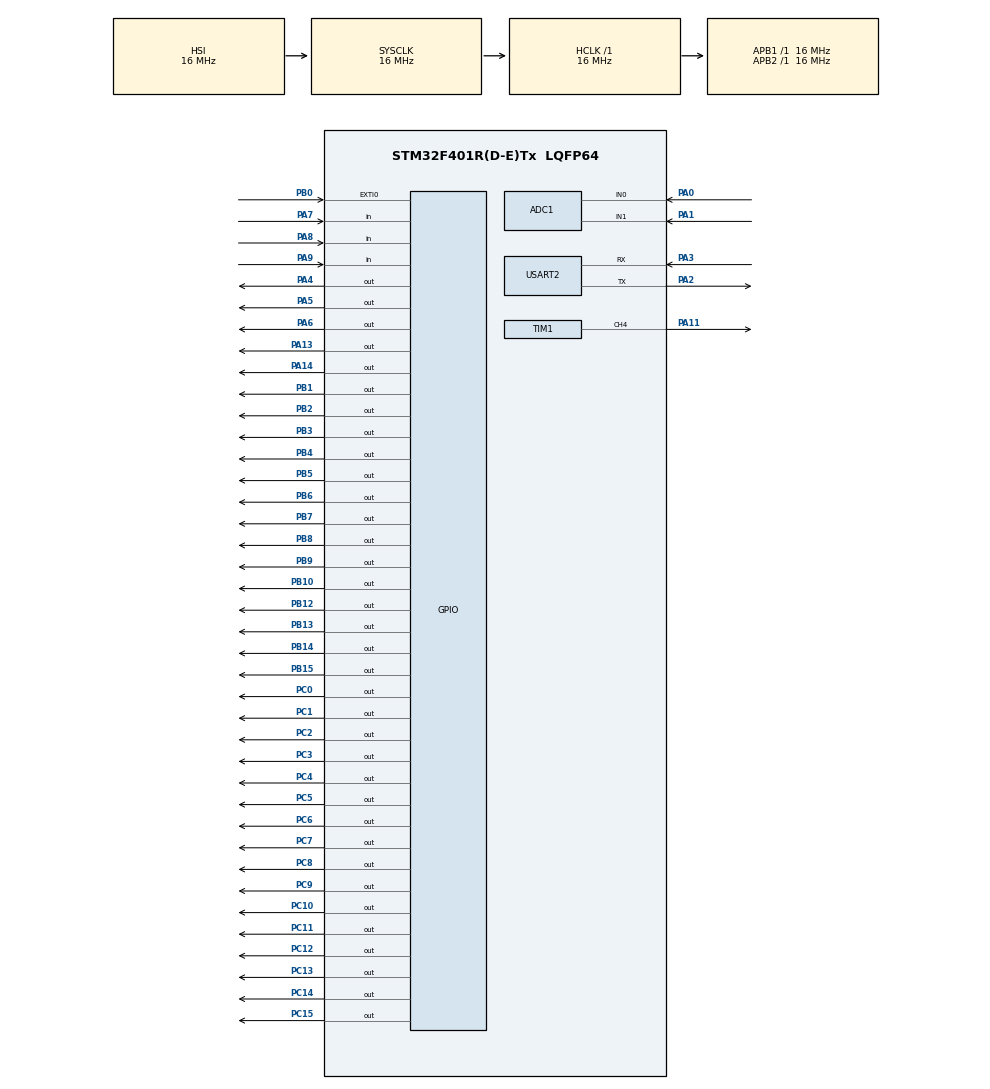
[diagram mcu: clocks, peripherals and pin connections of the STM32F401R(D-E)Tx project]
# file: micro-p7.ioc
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ADC1.Channel-14\#ChannelRegularConversion=ADC_CHANNEL_0
ADC1.Channel-15\#ChannelRegularConversion=ADC_CHANNEL_1
ADC1.ContinuousConvMode=ENABLE
ADC1.NbrOfConversion=2
ADC1.NbrOfConversionFlag=1
ADC1.Rank-14\#ChannelRegularConversion=1
ADC1.Rank-15\#ChannelRegularConversion=2
ADC1.SamplingTime-14\#ChannelRegularConversion=ADC_SAMPLETIME_3CYCLES
ADC1.SamplingTime-15\#ChannelRegularConversion=ADC_SAMPLETIME_3CYCLES
ADC1.ScanConvMode=ENABLE
ADC1.master=1
Mcu.Family=STM32F4
Mcu.Name=STM32F401R(D-E)Tx
Mcu.Package=LQFP64
NVIC.EXTI0_IRQn=true\:0\:0\:true\:false\:true\:true\:true
NVIC.PriorityGroup=NVIC_PRIORITYGROUP_4
NVIC.RCC_IRQn=true\:0\:0\:false\:false\:true\:true\:false
NVIC.TIM3_IRQn=true\:0\:0\:false\:false\:true\:true\:true
PA0-WKUP.Signal=ADCx_IN0
PA1.Signal=ADCx_IN1
PA11.GPIO_PuPd=GPIO_NOPULL
PA11.Signal=S_TIM1_CH4
PA13.GPIO_PuPd=GPIO_NOPULL
PA13.Signal=GPIO_Output
PA14.GPIO_PuPd=GPIO_NOPULL
PA14.Signal=GPIO_Output
PA2.Mode=Asynchronous
PA2.Signal=USART2_TX
PA3.Mode=Asynchronous
PA3.Signal=USART2_RX
PA4.GPIO_PuPd=GPIO_NOPULL
PA4.Signal=GPIO_Output
PA5.GPIO_PuPd=GPIO_NOPULL
PA5.Signal=GPIO_Output
PA6.GPIO_PuPd=GPIO_NOPULL
PA6.Signal=GPIO_Output
PA7.GPIO_PuPd=GPIO_PULLDOWN
PA7.Signal=GPIO_Input
PA8.GPIO_PuPd=GPIO_PULLDOWN
PA8.Signal=GPIO_Input
PA9.GPIO_PuPd=GPIO_PULLDOWN
PA9.Signal=GPIO_Input
PB0.GPIO_PuPd=GPIO_PULLDOWN
PB0.Signal=GPXTI0
PB1.GPIO_PuPd=GPIO_NOPULL
PB1.Signal=GPIO_Output
PB10.GPIO_PuPd=GPIO_NOPULL
PB10.Signal=GPIO_Output
PB12.GPIO_PuPd=GPIO_NOPULL
PB12.Signal=GPIO_Output
PB13.GPIO_PuPd=GPIO_NOPULL
PB13.Signal=GPIO_Output
PB14.GPIO_PuPd=GPIO_NOPULL
PB14.Signal=GPIO_Output
PB15.GPIO_PuPd=GPIO_NOPULL
PB15.Signal=GPIO_Output
PB2.GPIO_PuPd=GPIO_NOPULL
PB2.Signal=GPIO_Output
PB3.GPIO_PuPd=GPIO_NOPULL
PB3.Signal=GPIO_Output
PB4.GPIO_PuPd=GPIO_NOPULL
PB4.Signal=GPIO_Output
PB5.GPIO_PuPd=GPIO_NOPULL
PB5.Signal=GPIO_Output
PB6.GPIO_PuPd=GPIO_NOPULL
PB6.Signal=GPIO_Output
PB7.GPIO_PuPd=GPIO_NOPULL
PB7.Signal=GPIO_Output
PB8.GPIO_PuPd=GPIO_NOPULL
PB8.Signal=GPIO_Output
PB9.GPIO_PuPd=GPIO_NOPULL
PB9.Signal=GPIO_Output
PC0.GPIO_PuPd=GPIO_NOPULL
PC0.Signal=GPIO_Output
PC1.GPIO_PuPd=GPIO_NOPULL
PC1.Signal=GPIO_Output
PC10.GPIO_PuPd=GPIO_NOPULL
PC10.Signal=GPIO_Output
PC11.GPIO_PuPd=GPIO_NOPULL
PC11.Signal=GPIO_Output
PC12.GPIO_PuPd=GPIO_NOPULL
PC12.Signal=GPIO_Output
PC13-ANTI_TAMP.GPIO_PuPd=GPIO_NOPULL
PC13-ANTI_TAMP.Signal=GPIO_Output
PC14-OSC32_IN.GPIO_PuPd=GPIO_NOPULL
PC14-OSC32_IN.Signal=GPIO_Output
PC15-OSC32_OUT.GPIO_PuPd=GPIO_NOPULL
PC15-OSC32_OUT.Signal=GPIO_Output
PC2.GPIO_PuPd=GPIO_NOPULL
PC2.Signal=GPIO_Output
PC3.GPIO_PuPd=GPIO_NOPULL
PC3.Signal=GPIO_Output
PC4.GPIO_PuPd=GPIO_NOPULL
PC4.Signal=GPIO_Output
PC5.GPIO_PuPd=GPIO_NOPULL
PC5.Signal=GPIO_Output
PC6.GPIO_PuPd=GPIO_NOPULL
PC6.Signal=GPIO_Output
PC7.GPIO_PuPd=GPIO_NOPULL
PC7.Signal=GPIO_Output
PC8.GPIO_PuPd=GPIO_NOPULL
PC8.Signal=GPIO_Output
PC9.GPIO_PuPd=GPIO_NOPULL
PC9.Signal=GPIO_Output
ProjectManager.HeapSize=0x200
ProjectManager.StackSize=0x400
ProjectManager.TargetToolchain=MDK-ARM V5
RCC.AHBFreq_Value=16000000
RCC.APB1Freq_Value=16000000
RCC.APB1TimFreq_Value=16000000
RCC.APB2Freq_Value=16000000
RCC.APB2TimFreq_Value=16000000
RCC.CortexFreq_Value=16000000
RCC.HCLKFreq_Value=16000000
RCC.HSE_VALUE=25000000
RCC.HSI_VALUE=16000000
RCC.LSE_VALUE=32768
RCC.PLLP=RCC_PLLP_DIV4
RCC.SYSCLKFreq_VALUE=16000000
RCC.VCOOutputFreq_Value=192000000
SH.ADCx_IN0.0=ADC1_IN0,IN0
SH.ADCx_IN1.0=ADC1_IN1,IN1
SH.S_TIM1_CH4.0=TIM1_CH4,PWM Generation4 CH4
TIM1.Channel-PWM\ Generation4\ CH4=TIM_CHANNEL_4
TIM1.Period=120
TIM1.Prescaler=15999
TIM1.Pulse-PWM\ Generation4\ CH4=60
TIM3.Period=19
TIM3.Prescaler=15999
USART2.VirtualMode=VM_ASYNC
VP_TIM3_VS_ClockSourceINT.Mode=Internal
board=custom

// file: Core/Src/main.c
/* USER CODE BEGIN Header */
/**
  ******************************************************************************
  * @file           : main.c
  * @brief          : Main program body
  ******************************************************************************
  * @attention
  *
  * Copyright (c) 2022 STMicroelectronics.
  * All rights reserved.
  *
  * This software is licensed under terms that can be found in the LICENSE file
  * in the root directory of this software component.
  * If no LICENSE file comes with this software, it is provided AS-IS.
  *
  ******************************************************************************
*/
/* USER CODE END Header */
#include "main.h"

/* USER CODE BEGIN Includes */
#include <stdio.h>
#include <stdbool.h>
#include <string.h>
/* USER CODE END Includes */

/* USER CODE BEGIN PTD */
#define GREEN (4)
#define ORANGE (5)
#define RED (6)
#define B1 (7)
#define B2 (8)
#define B3 (9)
#define PWM_ORANGE (13)
#define PWM_RED (14)
#define SA (1)
#define SB (2)
#define SC (3)
#define SD (4)
#define SE (5)
#define SF (6)
#define SG (7)
#define SAA (8)
#define SBB (9)
#define SCC (10)
#define SDD (12)
#define SEE (13)
#define SFF (14)
#define SGG (15)
#define MASK(x)   (1UL << (x))
#define VREF (5)

/* USER CODE END PTD */

ADC_HandleTypeDef hadc1;

TIM_HandleTypeDef htim1;
TIM_HandleTypeDef htim3;

UART_HandleTypeDef huart2;

/* USER CODE BEGIN PV */
void logStr(char* string);
void logNum(uint32_t input);
void endLine();
/* USER CODE END PV */

void SystemClock_Config(void);
static void MX_GPIO_Init(void);
static void MX_ADC1_Init(void);
static void MX_TIM3_Init(void);
static void MX_USART2_UART_Init(void);
static void MX_TIM1_Init(void);

/* USER CODE BEGIN 0 */
enum SystemState { STARTUP, OK, CHECKING, WARNING, COOLING, DANGER, OFF };
volatile enum SystemState systemState = STARTUP;
volatile float avg = 0.0;
volatile float lastAvg = 0.0;
volatile uint8_t count = 0;

void logState(enum SystemState state){
	switch(state) {
		case OK:
			logStr("State -> OK");
			break;
		case CHECKING:
			logStr("State -> CHECKING");
			break;
		case WARNING:
			logStr("State -> WARNING");
			break;
		case COOLING:
			logStr("State -> COOLING");
			break;
		case DANGER:
			logStr("State -> DANGER");
			break;
		case OFF:
			logStr("State -> OFF");
			break;
		case STARTUP:
			logStr("State -> STARTUP");
			break;
			default:
			logStr("Unexpected Behaviour");
	}
	endLine();
}
uint16_t segment1(uint16_t value) {
	switch(value){
		case 0:
			return MASK(SA) | MASK(SB) | MASK(SC) | MASK(SD) | MASK(SE) | MASK(SF);
		case 1:
			return MASK(SB) | MASK(SC);
		case 2:
			return MASK(SA) | MASK(SB) | MASK(SD) | MASK(SE) | MASK(SG);
		case 3:
			return MASK(SA) | MASK(SB) | MASK(SC) | MASK(SD) | MASK(SG);
		case 4:
			return MASK(SB) | MASK(SC) | MASK(SF) | MASK(SG);
		case 5:
			return MASK(SA) | MASK(SC) | MASK(SD) | MASK(SF) | MASK(SG);
		case 6:
			return MASK(SA) | MASK(SC) | MASK(SD) | MASK(SE) | MASK(SF) | MASK(SG);
		case 8:
			return MASK(SA) | MASK(SB) | MASK(SC) | MASK(SD) | MASK(SE) | MASK(SF) | MASK(SG);
		case 7:
			return MASK(SA) | MASK(SB) | MASK(SC);
		case 9:
			return MASK(SA) | MASK(SB) | MASK(SC) | MASK(SD) | MASK(SF) | MASK(SG);
		default:
			return MASK(SA) | MASK(SB) | MASK(SC) | MASK(SD) | MASK(SE) | MASK(SF);
	}
}

uint16_t segment2(uint16_t value) {
	switch(value){
		case 0:
			return MASK(SAA) | MASK(SBB) | MASK(SCC) | MASK(SDD) | MASK(SEE) | MASK(SFF);
		case 1:
			return MASK(SBB) | MASK(SCC);
		case 2:
			return MASK(SAA) | MASK(SBB) | MASK(SDD) | MASK(SEE) | MASK(SGG);
		case 3:
			return MASK(SAA) | MASK(SBB) | MASK(SCC) | MASK(SDD) | MASK(SGG);
		case 4:
			return MASK(SBB) | MASK(SCC) | MASK(SFF) | MASK(SGG);
		case 5:
			return MASK(SAA) | MASK(SCC) | MASK(SDD) | MASK(SFF) | MASK(SGG);
		case 6:
			return MASK(SAA) | MASK(SCC) | MASK(SDD) | MASK(SEE) | MASK(SFF) | MASK(SGG);
		case 8:
			return MASK(SAA) | MASK(SBB) | MASK(SCC) | MASK(SDD) | MASK(SEE) | MASK(SFF) | MASK(SGG);
		case 7:
			return MASK(SAA) | MASK(SBB) | MASK(SCC);
		case 9:
			return MASK(SAA) | MASK(SBB) | MASK(SCC) | MASK(SDD) | MASK(SFF) | MASK(SGG);
		default:
			return MASK(SAA) | MASK(SBB) | MASK(SCC) | MASK(SDD) | MASK(SEE) | MASK(SFF);
	}
}

// Transform System  to given State
void ChangeState(enum SystemState state){
	HAL_GPIO_WritePin( GPIOA, MASK(ORANGE) | MASK(GREEN) | MASK(RED) | MASK(PWM_RED) | MASK(PWM_ORANGE), GPIO_PIN_RESET);
	HAL_TIM_PWM_Stop(&htim1, TIM_CHANNEL_4);
	systemState = state;
	switch( state ){
		case OK:
			HAL_GPIO_WritePin( GPIOA, MASK(GREEN), GPIO_PIN_SET);
			break;
		case WARNING:
			HAL_GPIO_WritePin( GPIOA, MASK(ORANGE), GPIO_PIN_SET);
			break;
		case CHECKING:
				HAL_TIM_PWM_Start(&htim1, TIM_CHANNEL_4);
				HAL_GPIO_WritePin( GPIOA, MASK(PWM_ORANGE), GPIO_PIN_SET);
			break;
		case DANGER:
				HAL_TIM_PWM_Start(&htim1, TIM_CHANNEL_4);
				HAL_GPIO_WritePin( GPIOA, MASK(PWM_RED), GPIO_PIN_SET);
			break;
		default:
			break;
	}
	logState(state);
}
// Show given Number on segments
void showOnSegments(uint16_t value){
		HAL_GPIO_WritePin(GPIOB, 0xFFFF , GPIO_PIN_RESET);
		uint16_t seg1 = segment1(value/10);
		uint16_t seg2 = segment2(value%10);
		HAL_GPIO_WritePin(GPIOB, (seg1) | (seg2) , GPIO_PIN_SET);
}

// Reverse Given Value
uint16_t reverse(uint16_t input){
	return ((4095 - input)  << 4);
}

/************************************************************************/
/* Configurations for selecting/reading adc channels */
void Select_ADC_OSC(){
	ADC_ChannelConfTypeDef sConfig = {0};
	sConfig.Channel = ADC_CHANNEL_0;
  sConfig.Rank = 1;
  sConfig.SamplingTime = ADC_SAMPLETIME_3CYCLES;
  if (HAL_ADC_ConfigChannel(&hadc1, &sConfig) != HAL_OK)
  {
    Error_Handler();
  }
}
void Select_ADC_TEMP(){
	 ADC_ChannelConfTypeDef sConfig = {0};
	sConfig.Channel = ADC_CHANNEL_1;
	sConfig.Rank = 1;
	sConfig.SamplingTime = ADC_SAMPLETIME_3CYCLES;
  if (HAL_ADC_ConfigChannel(&hadc1, &sConfig) != HAL_OK)
  {
    Error_Handler();
  }
}
uint32_t Read_ADC_OSC(){
	HAL_TIM_Base_Stop_IT(&htim3);
	uint32_t raw;
	Select_ADC_OSC();
	HAL_ADC_Start(&hadc1);
	HAL_ADC_PollForConversion(&hadc1, HAL_MAX_DELAY);
	raw = HAL_ADC_GetValue(&hadc1);
	HAL_ADC_Stop(&hadc1);
	HAL_TIM_Base_Start_IT(&htim3);
	return raw;
}

uint32_t Read_ADC_TEMP(){
		Select_ADC_TEMP();
		HAL_ADC_Start(&hadc1);
		HAL_ADC_PollForConversion(&hadc1, HAL_MAX_DELAY);
	 	uint32_t raw = HAL_ADC_GetValue(&hadc1);
		HAL_ADC_Stop(&hadc1);
		return raw;
}
/********************************************************************************/

void delay(uint16_t n){
	for(int i = 0; i < n ; i++){
		uint16_t del = 300;
		while( del > 0 )
			del--;
	}
}

// Debug Funcs:
void logStr(char* string){
	HAL_UART_Transmit(&huart2,(uint8_t*) string , strlen(string), HAL_MAX_DELAY);
}
void logNum(uint32_t input){
	char number[10];
	sprintf(number, "%u", input);
	HAL_UART_Transmit(&huart2,(uint8_t*) number , strlen(number), HAL_MAX_DELAY);
}
void endLine(){
	logStr("\n\r");
}

void EXTI0_IRQHandler(){
		if( HAL_GPIO_ReadPin(GPIOA, MASK(B1)) == GPIO_PIN_SET ){
			if( systemState == STARTUP){
				ChangeState(CHECKING);
			}
		}
		else if( HAL_GPIO_ReadPin(GPIOA, MASK(B2)) == GPIO_PIN_SET ){
			if( systemState == OFF)
				ChangeState(CHECKING);
		}

}
// Scale and return ADC via Read_ADC_TEMP()
double readTemp(){
	double temp = Read_ADC_TEMP();
	temp = ((temp/4095.0)*VREF*100);
	return temp;
}
// This Function handles Danger State. (Cooling Check , Turn Off,  .... )
void handleDanger(){
	uint32_t start = HAL_GetTick();

	bool coolingPressed = false;
	while( HAL_GetTick() - start < 1000 ){

		if( HAL_GPIO_ReadPin(GPIOA, MASK(B3)) == GPIO_PIN_SET ){
			coolingPressed = true;
			break;
		}
	}
	HAL_TIM_PWM_Stop(&htim1, TIM_CHANNEL_4);
	HAL_GPIO_WritePin( GPIOA, MASK(PWM_RED) , GPIO_PIN_RESET);

	if( !coolingPressed )
		ChangeState(OFF);
	else {
			HAL_GPIO_WritePin( GPIOA, MASK(ORANGE) | MASK(GREEN) | MASK(RED) | MASK(PWM_RED) | MASK(PWM_ORANGE), GPIO_PIN_RESET);
			HAL_GPIO_WritePin( GPIOA, MASK(RED) , GPIO_PIN_SET);
			uint32_t miliSeconds = 0;
			while( miliSeconds < 2000 ){
				if( lastAvg <= 35){
					ChangeState(OK);
					return;
				}
				HAL_Delay(1);
				miliSeconds++;
			}
			HAL_GPIO_WritePin( GPIOA, MASK(RED) , GPIO_PIN_RESET);
			HAL_TIM_PWM_Start(&htim1, TIM_CHANNEL_4);
			HAL_GPIO_WritePin( GPIOA, MASK(PWM_RED) , GPIO_PIN_SET);
			HAL_Delay(500);
			HAL_TIM_PWM_Stop(&htim1, TIM_CHANNEL_4);
			ChangeState(OFF);
	}

}

// Change AVG temprature periodically
void TIM3_IRQHandler(void){
		if( systemState != STARTUP && systemState != OFF  ){
			if( count == 10){

				count = 0;
				showOnSegments( (uint16_t) avg);
				if( avg <= 35){
					if(systemState != OK)
						ChangeState(OK);
				}
				if( avg > 35 && avg < 46){
					if( systemState != WARNING)
						ChangeState(WARNING);
				}
				else if( avg >= 46 ){
					if( systemState != DANGER)
						ChangeState(DANGER);
				}
				lastAvg = avg;
				avg = 0;
			}
			else{
				avg += readTemp()/10;
				count++;
			}
		}
}

/* USER CODE END 0 */

int main(void)
{

  /* MCU Configuration--------------------------------------------------------*/

  /* Reset of all peripherals, Initializes the Flash interface and the Systick. */
  HAL_Init();

  /* Configure the system clock */
  SystemClock_Config();

  /* Initialize all configured peripherals */
  MX_GPIO_Init();
  MX_ADC1_Init();
  MX_TIM3_Init();
  MX_USART2_UART_Init();
  MX_TIM1_Init();
  /* USER CODE BEGIN 2 */
	uint32_t in;
	HAL_NVIC_SetPriority(SysTick_IRQn, 0, 0);
	HAL_NVIC_SetPriority(TIM3_IRQn, 1, 1);
	HAL_NVIC_SetPriority(EXTI0_IRQn, 1, 1);

	HAL_TIM_Base_Start_IT(&htim3);

  /* USER CODE END 2 */

  /* Infinite loop */
  /* USER CODE BEGIN WHILE */
	//HAL_TIM_PWM_Start(&htim1, TIM_CHANNEL_4);

  while (1)
  {
		// If systemState has been changed to DANGER (via TIMER) handle it.
		if(systemState == DANGER)
			handleDanger();
		// if systemState is OK, read ADC, reverse and put on PC Pin.
		else if(systemState == OK ) {
//			in = Read_ADC_OSC();
//		GPIOC->ODR = reverse( in );
		}
    /* USER CODE END WHILE */

  }
}

void SystemClock_Config(void)
{
  RCC_OscInitTypeDef RCC_OscInitStruct = {0};
  RCC_ClkInitTypeDef RCC_ClkInitStruct = {0};

  /** Configure the main internal regulator output voltage
  */
  __HAL_RCC_PWR_CLK_ENABLE();
  __HAL_PWR_VOLTAGESCALING_CONFIG(PWR_REGULATOR_VOLTAGE_SCALE2);
  /** Initializes the RCC Oscillators according to the specified parameters
  * in the RCC_OscInitTypeDef structure.
  */
  RCC_OscInitStruct.OscillatorType = RCC_OSCILLATORTYPE_HSI;
  RCC_OscInitStruct.HSIState = RCC_HSI_ON;
  RCC_OscInitStruct.HSICalibrationValue = RCC_HSICALIBRATION_DEFAULT;
  RCC_OscInitStruct.PLL.PLLState = RCC_PLL_NONE;
  if (HAL_RCC_OscConfig(&RCC_OscInitStruct) != HAL_OK)
  {
    Error_Handler();
  }
  /** Initializes the CPU, AHB and APB buses clocks
  */
  RCC_ClkInitStruct.ClockType = RCC_CLOCKTYPE_HCLK|RCC_CLOCKTYPE_SYSCLK
                              |RCC_CLOCKTYPE_PCLK1|RCC_CLOCKTYPE_PCLK2;
  RCC_ClkInitStruct.SYSCLKSource = RCC_SYSCLKSOURCE_HSI;
  RCC_ClkInitStruct.AHBCLKDivider = RCC_SYSCLK_DIV1;
  RCC_ClkInitStruct.APB1CLKDivider = RCC_HCLK_DIV1;
  RCC_ClkInitStruct.APB2CLKDivider = RCC_HCLK_DIV1;

  if (HAL_RCC_ClockConfig(&RCC_ClkInitStruct, FLASH_LATENCY_0) != HAL_OK)
  {
    Error_Handler();
  }
}

static void MX_ADC1_Init(void)
{

  ADC_ChannelConfTypeDef sConfig = {0};

  /** Configure the global features of the ADC (Clock, Resolution, Data Alignment and number of conversion)
  */
  hadc1.Instance = ADC1;
  hadc1.Init.ClockPrescaler = ADC_CLOCK_SYNC_PCLK_DIV2;
  hadc1.Init.Resolution = ADC_RESOLUTION_12B;
  hadc1.Init.ScanConvMode = ENABLE;
  hadc1.Init.ContinuousConvMode = ENABLE;
  hadc1.Init.DiscontinuousConvMode = DISABLE;
  hadc1.Init.ExternalTrigConvEdge = ADC_EXTERNALTRIGCONVEDGE_NONE;
  hadc1.Init.ExternalTrigConv = ADC_SOFTWARE_START;
  hadc1.Init.DataAlign = ADC_DATAALIGN_RIGHT;
  hadc1.Init.NbrOfConversion = 2;
  hadc1.Init.DMAContinuousRequests = DISABLE;
  hadc1.Init.EOCSelection = ADC_EOC_SINGLE_CONV;
  if (HAL_ADC_Init(&hadc1) != HAL_OK)
  {
    Error_Handler();
  }
  /** Configure for the selected ADC regular channel its corresponding rank in the sequencer and its sample time.
  */
  sConfig.Channel = ADC_CHANNEL_0;
  sConfig.Rank = 1;
  sConfig.SamplingTime = ADC_SAMPLETIME_3CYCLES;
  if (HAL_ADC_ConfigChannel(&hadc1, &sConfig) != HAL_OK)
  {
    Error_Handler();
  }
  /** Configure for the selected ADC regular channel its corresponding rank in the sequencer and its sample time.
  */
  sConfig.Channel = ADC_CHANNEL_1;
  sConfig.Rank = 2;
  if (HAL_ADC_ConfigChannel(&hadc1, &sConfig) != HAL_OK)
  {
    Error_Handler();
  }

}

static void MX_TIM1_Init(void)
{

  TIM_MasterConfigTypeDef sMasterConfig = {0};
  TIM_OC_InitTypeDef sConfigOC = {0};
  TIM_BreakDeadTimeConfigTypeDef sBreakDeadTimeConfig = {0};

  htim1.Instance = TIM1;
  htim1.Init.Prescaler = 15999;
  htim1.Init.CounterMode = TIM_COUNTERMODE_UP;
  htim1.Init.Period = 120;
  htim1.Init.ClockDivision = TIM_CLOCKDIVISION_DIV1;
  htim1.Init.RepetitionCounter = 0;
  htim1.Init.AutoReloadPreload = TIM_AUTORELOAD_PRELOAD_DISABLE;
  if (HAL_TIM_PWM_Init(&htim1) != HAL_OK)
  {
    Error_Handler();
  }
  sMasterConfig.MasterOutputTrigger = TIM_TRGO_RESET;
  sMasterConfig.MasterSlaveMode = TIM_MASTERSLAVEMODE_DISABLE;
  if (HAL_TIMEx_MasterConfigSynchronization(&htim1, &sMasterConfig) != HAL_OK)
  {
    Error_Handler();
  }
  sConfigOC.OCMode = TIM_OCMODE_PWM1;
  sConfigOC.Pulse = 60;
  sConfigOC.OCPolarity = TIM_OCPOLARITY_HIGH;
  sConfigOC.OCFastMode = TIM_OCFAST_DISABLE;
  sConfigOC.OCIdleState = TIM_OCIDLESTATE_RESET;
  sConfigOC.OCNIdleState = TIM_OCNIDLESTATE_RESET;
  if (HAL_TIM_PWM_ConfigChannel(&htim1, &sConfigOC, TIM_CHANNEL_4) != HAL_OK)
  {
    Error_Handler();
  }
  sBreakDeadTimeConfig.OffStateRunMode = TIM_OSSR_DISABLE;
  sBreakDeadTimeConfig.OffStateIDLEMode = TIM_OSSI_DISABLE;
  sBreakDeadTimeConfig.LockLevel = TIM_LOCKLEVEL_OFF;
  sBreakDeadTimeConfig.DeadTime = 0;
  sBreakDeadTimeConfig.BreakState = TIM_BREAK_DISABLE;
  sBreakDeadTimeConfig.BreakPolarity = TIM_BREAKPOLARITY_HIGH;
  sBreakDeadTimeConfig.AutomaticOutput = TIM_AUTOMATICOUTPUT_DISABLE;
  if (HAL_TIMEx_ConfigBreakDeadTime(&htim1, &sBreakDeadTimeConfig) != HAL_OK)
  {
    Error_Handler();
  }
  HAL_TIM_MspPostInit(&htim1);

}

static void MX_TIM3_Init(void)
{

  TIM_ClockConfigTypeDef sClockSourceConfig = {0};
  TIM_MasterConfigTypeDef sMasterConfig = {0};

  htim3.Instance = TIM3;
  htim3.Init.Prescaler = 15999;
  htim3.Init.CounterMode = TIM_COUNTERMODE_UP;
  htim3.Init.Period = 19;
  htim3.Init.ClockDivision = TIM_CLOCKDIVISION_DIV1;
  htim3.Init.AutoReloadPreload = TIM_AUTORELOAD_PRELOAD_DISABLE;
  if (HAL_TIM_Base_Init(&htim3) != HAL_OK)
  {
    Error_Handler();
  }
  sClockSourceConfig.ClockSource = TIM_CLOCKSOURCE_INTERNAL;
  if (HAL_TIM_ConfigClockSource(&htim3, &sClockSourceConfig) != HAL_OK)
  {
    Error_Handler();
  }
  sMasterConfig.MasterOutputTrigger = TIM_TRGO_RESET;
  sMasterConfig.MasterSlaveMode = TIM_MASTERSLAVEMODE_DISABLE;
  if (HAL_TIMEx_MasterConfigSynchronization(&htim3, &sMasterConfig) != HAL_OK)
  {
    Error_Handler();
  }

}

static void MX_USART2_UART_Init(void)
{

  huart2.Instance = USART2;
  huart2.Init.BaudRate = 115200;
  huart2.Init.WordLength = UART_WORDLENGTH_8B;
  huart2.Init.StopBits = UART_STOPBITS_1;
  huart2.Init.Parity = UART_PARITY_NONE;
  huart2.Init.Mode = UART_MODE_TX_RX;
  huart2.Init.HwFlowCtl = UART_HWCONTROL_NONE;
  huart2.Init.OverSampling = UART_OVERSAMPLING_16;
  if (HAL_UART_Init(&huart2) != HAL_OK)
  {
    Error_Handler();
  }

}

static void MX_GPIO_Init(void)
{
  GPIO_InitTypeDef GPIO_InitStruct = {0};

  /* GPIO Ports Clock Enable */
  __HAL_RCC_GPIOC_CLK_ENABLE();
  __HAL_RCC_GPIOA_CLK_ENABLE();
  __HAL_RCC_GPIOB_CLK_ENABLE();

  /*Configure GPIO pin Output Level */
  HAL_GPIO_WritePin(GPIOC, GPIO_PIN_13|GPIO_PIN_14|GPIO_PIN_15|GPIO_PIN_0
                          |GPIO_PIN_1|GPIO_PIN_2|GPIO_PIN_3|GPIO_PIN_4
                          |GPIO_PIN_5|GPIO_PIN_6|GPIO_PIN_7|GPIO_PIN_8
                          |GPIO_PIN_9|GPIO_PIN_10|GPIO_PIN_11|GPIO_PIN_12, GPIO_PIN_RESET);

  /*Configure GPIO pin Output Level */
  HAL_GPIO_WritePin(GPIOA, GPIO_PIN_4|GPIO_PIN_5|GPIO_PIN_6|GPIO_PIN_13
                          |GPIO_PIN_14, GPIO_PIN_RESET);

  /*Configure GPIO pin Output Level */
  HAL_GPIO_WritePin(GPIOB, GPIO_PIN_1|GPIO_PIN_2|GPIO_PIN_10|GPIO_PIN_12
                          |GPIO_PIN_13|GPIO_PIN_14|GPIO_PIN_15|GPIO_PIN_3
                          |GPIO_PIN_4|GPIO_PIN_5|GPIO_PIN_6|GPIO_PIN_7
                          |GPIO_PIN_8|GPIO_PIN_9, GPIO_PIN_RESET);

  /*Configure GPIO pins : PC13 PC14 PC15 PC0
                           PC1 PC2 PC3 PC4
                           PC5 PC6 PC7 PC8
                           PC9 PC10 PC11 PC12 */
  GPIO_InitStruct.Pin = GPIO_PIN_13|GPIO_PIN_14|GPIO_PIN_15|GPIO_PIN_0
                          |GPIO_PIN_1|GPIO_PIN_2|GPIO_PIN_3|GPIO_PIN_4
                          |GPIO_PIN_5|GPIO_PIN_6|GPIO_PIN_7|GPIO_PIN_8
                          |GPIO_PIN_9|GPIO_PIN_10|GPIO_PIN_11|GPIO_PIN_12;
  GPIO_InitStruct.Mode = GPIO_MODE_OUTPUT_PP;
  GPIO_InitStruct.Pull = GPIO_NOPULL;
  GPIO_InitStruct.Speed = GPIO_SPEED_FREQ_LOW;
  HAL_GPIO_Init(GPIOC, &GPIO_InitStruct);

  /*Configure GPIO pins : PA4 PA5 PA6 PA13
                           PA14 */
  GPIO_InitStruct.Pin = GPIO_PIN_4|GPIO_PIN_5|GPIO_PIN_6|GPIO_PIN_13
                          |GPIO_PIN_14;
  GPIO_InitStruct.Mode = GPIO_MODE_OUTPUT_PP;
  GPIO_InitStruct.Pull = GPIO_NOPULL;
  GPIO_InitStruct.Speed = GPIO_SPEED_FREQ_LOW;
  HAL_GPIO_Init(GPIOA, &GPIO_InitStruct);

  /*Configure GPIO pins : PA7 PA8 PA9 */
  GPIO_InitStruct.Pin = GPIO_PIN_7|GPIO_PIN_8|GPIO_PIN_9;
  GPIO_InitStruct.Mode = GPIO_MODE_INPUT;
  GPIO_InitStruct.Pull = GPIO_PULLDOWN;
  HAL_GPIO_Init(GPIOA, &GPIO_InitStruct);

  /*Configure GPIO pin : PB0 */
  GPIO_InitStruct.Pin = GPIO_PIN_0;
  GPIO_InitStruct.Mode = GPIO_MODE_IT_RISING;
  GPIO_InitStruct.Pull = GPIO_PULLDOWN;
  HAL_GPIO_Init(GPIOB, &GPIO_InitStruct);

  /*Configure GPIO pins : PB1 PB2 PB10 PB12
                           PB13 PB14 PB15 PB3
                           PB4 PB5 PB6 PB7
                           PB8 PB9 */
  GPIO_InitStruct.Pin = GPIO_PIN_1|GPIO_PIN_2|GPIO_PIN_10|GPIO_PIN_12
                          |GPIO_PIN_13|GPIO_PIN_14|GPIO_PIN_15|GPIO_PIN_3
                          |GPIO_PIN_4|GPIO_PIN_5|GPIO_PIN_6|GPIO_PIN_7
                          |GPIO_PIN_8|GPIO_PIN_9;
  GPIO_InitStruct.Mode = GPIO_MODE_OUTPUT_PP;
  GPIO_InitStruct.Pull = GPIO_NOPULL;
  GPIO_InitStruct.Speed = GPIO_SPEED_FREQ_LOW;
  HAL_GPIO_Init(GPIOB, &GPIO_InitStruct);

  /* EXTI interrupt init*/
  HAL_NVIC_SetPriority(EXTI0_IRQn, 0, 0);
  HAL_NVIC_EnableIRQ(EXTI0_IRQn);

}

void Error_Handler(void)
{
  __disable_irq();
  while (1)
  {
  }
}
